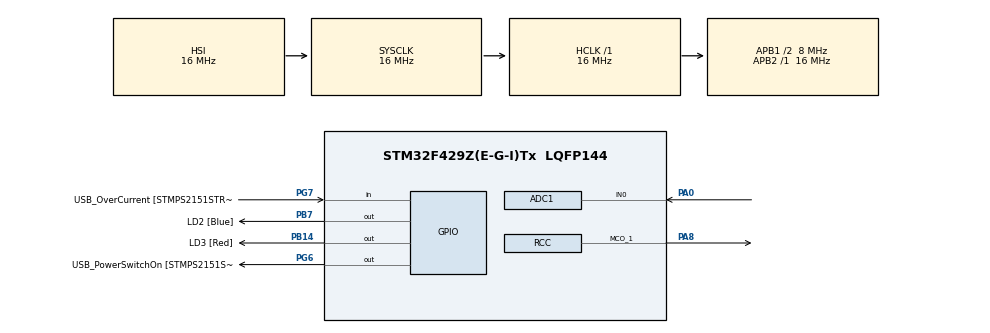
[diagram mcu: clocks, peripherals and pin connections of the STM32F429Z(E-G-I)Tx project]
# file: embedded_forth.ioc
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ADC1.Channel-0\#ChannelRegularConversion=ADC_CHANNEL_0
ADC1.NbrOfConversionFlag=1
ADC1.Rank-0\#ChannelRegularConversion=1
ADC1.SamplingTime-0\#ChannelRegularConversion=ADC_SAMPLETIME_3CYCLES
ADC1.master=1
Mcu.Family=STM32F4
Mcu.Name=STM32F429Z(E-G-I)Tx
Mcu.Package=LQFP144
NVIC.PriorityGroup=NVIC_PRIORITYGROUP_4
PA0/WKUP.Signal=ADCx_IN0
PA8.Mode=Clock-out-1
PA8.Signal=RCC_MCO_1
PB14.GPIO_Label=LD3 [Red]
PB14.Signal=GPIO_Output
PB7.GPIO_Label=LD2 [Blue]
PB7.Signal=GPIO_Output
PG6.GPIO_Label=USB_PowerSwitchOn [STMPS2151STR_EN]
PG6.Signal=GPIO_Output
PG7.GPIO_Label=USB_OverCurrent [STMPS2151STR_FAULT]
PG7.Signal=GPIO_Input
PH0/OSC_IN.GPIO_Label=MCO [STM32F103CBT6_PA8]
PH0/OSC_IN.Mode=HSE-External-Oscillator
PH0/OSC_IN.Signal=RCC_OSC_IN
PH1/OSC_OUT.Mode=HSE-External-Oscillator
PH1/OSC_OUT.Signal=RCC_OSC_OUT
ProjectManager.HeapSize=0x200
ProjectManager.StackSize=0x400
ProjectManager.TargetToolchain=EWARM V7
RCC.48MHZClocksFreq_Value=48000000
RCC.AHBFreq_Value=16000000
RCC.APB1CLKDivider=RCC_HCLK_DIV2
RCC.APB1Freq_Value=8000000
RCC.APB1TimFreq_Value=16000000
RCC.APB2Freq_Value=16000000
RCC.APB2TimFreq_Value=16000000
RCC.CortexFreq_Value=16000000
RCC.HCLKFreq_Value=16000000
RCC.HSE_VALUE=8000000
RCC.HSI_VALUE=16000000
RCC.LSE_VALUE=32768
RCC.PLLMUL=RCC_PLL_MUL9
RCC.PRESCALERUSB=RCC_USBCLKSOURCE_PLL_DIV1_5
RCC.SYSCLKFreq_VALUE=16000000
RCC.SYSCLKSourceVirtual=RCC_SYSCLKSOURCE_PLLCLK
RCC.USBFreq_Value=48000000
RCC.VCOOutputFreq_Value=192000000
SH.ADCx_IN0.0=ADC1_IN0,IN0
board=NUCLEO-F429ZI

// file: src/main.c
/**
  ******************************************************************************
  * File Name          : main.c
  * Description        : Main program body
  ******************************************************************************
  *
  * COPYRIGHT(c) 2018 STMicroelectronics
  *
  * Redistribution and use in source and binary forms, with or without modification,
  * are permitted provided that the following conditions are met:
  *   1. Redistributions of source code must retain the above copyright notice,
  *      this list of conditions and the following disclaimer.
  *   2. Redistributions in binary form must reproduce the above copyright notice,
  *      this list of conditions and the following disclaimer in the documentation
  *      and/or other materials provided with the distribution.
  *   3. Neither the name of STMicroelectronics nor the names of its contributors
  *      may be used to endorse or promote products derived from this software
  *      without specific prior written permission.
  *
  * THIS SOFTWARE IS PROVIDED BY THE COPYRIGHT HOLDERS AND CONTRIBUTORS "AS IS"
  * AND ANY EXPRESS OR IMPLIED WARRANTIES, INCLUDING, BUT NOT LIMITED TO, THE
  * IMPLIED WARRANTIES OF MERCHANTABILITY AND FITNESS FOR A PARTICULAR PURPOSE ARE
  * DISCLAIMED. IN NO EVENT SHALL THE COPYRIGHT HOLDER OR CONTRIBUTORS BE LIABLE
  * FOR ANY DIRECT, INDIRECT, INCIDENTAL, SPECIAL, EXEMPLARY, OR CONSEQUENTIAL
  * DAMAGES (INCLUDING, BUT NOT LIMITED TO, PROCUREMENT OF SUBSTITUTE GOODS OR
  * SERVICES; LOSS OF USE, DATA, OR PROFITS; OR BUSINESS INTERRUPTION) HOWEVER
  * CAUSED AND ON ANY THEORY OF LIABILITY, WHETHER IN CONTRACT, STRICT LIABILITY,
  * OR TORT (INCLUDING NEGLIGENCE OR OTHERWISE) ARISING IN ANY WAY OUT OF THE USE
  * OF THIS SOFTWARE, EVEN IF ADVISED OF THE POSSIBILITY OF SUCH DAMAGE.
  *
  ******************************************************************************
  */
#include "stm32f4xx_hal.h"

/* USER CODE BEGIN Includes */

#include "main.h"
#include "core_cm4.h"
#include "dictionary.h"

/* USER CODE END Includes */

ADC_HandleTypeDef hadc1;

void SystemClock_Config(void);
void Error_Handler(void);
static void MX_GPIO_Init(void);
static void MX_ADC1_Init(void);
static void SystemClock_Config(void);

/* USER CODE BEGIN PFP */
/* Private function prototypes -----------------------------------------------*/
void SystemClock_Config(void);
void Error_Handler(void);
void next(void);
static void MX_GPIO_Init(void);
static void MX_ADC1_Init(void);

/* USER CODE END PFP */

/* USER CODE BEGIN 0 */

/* Global variables ----------------------------------------------------------*/
/*USER CODE BEGIN GV*/
int32_t *stack_data = STACK_DATA_BEGIN -1;
uint32_t *stack_return = STACK_RETURN_BEGIN -1;
uint8_t mode = 0;
uint8_t error_code = 0;
/*USER CODE END GV*/

void next(void){
  while(mode != 2){
    (**current_xt)();
    /*OVERFLOW CHECK BEGIN*/
    if(stack_data >= STACK_DATA_END){
      error_code = 1;
      printf("DATA STACK IS FULL\r\n");
    } else if(stack_return >= STACK_RETURN_END) {
      error_code = 2;
      printf("RETURN STACK IS FULL\r\n");
    } else if(next_xt_space >= DATA_WORDS_END){
      error_code = 3;
      printf("WORD SPACE IS FULL\r\n");
    }
    if(error_code){
      printf("SYSTEM WILL BE REBOOTED\r\n");
      mode = 2;
    }
    /*OVERFLOW CHECK END*/
    ++current_xt;
  }
}

/* USER CODE END 0 */

int main(void)
{

  /* USER CODE BEGIN 1 */
  current_xt = interpretator_loop;
  mode = 0;
  next();
  /* USER CODE END 1 */

  /* MCU Configuration----------------------------------------------------------*/

  /* Reset of all peripherals, Initializes the Flash interface and the Systick. */
  HAL_Init();

  /* Configure the system clock */
  SystemClock_Config();

  /* Initialize all configured peripherals */
  MX_GPIO_Init();
  MX_ADC1_Init();
  SystemClock_Config();

  /* USER CODE BEGIN 2 */
  current_xt = interpretator_loop;
  mode = 0;
  next();
  switch(error_code){
    case 0:
      break;

    default:
      NVIC_SystemReset();
      break;
  }

  /* USER CODE END 2 */

  /* Infinite loop */
  while (1)
  {

  /* USER CODE BEGIN 3 */
    /*put code for situation when forth ended it's work */

  }
  /* USER CODE END 3 */

}

/** System Clock Configuration
*/
void SystemClock_Config(void)
{

  RCC_OscInitTypeDef RCC_OscInitStruct;
  RCC_ClkInitTypeDef RCC_ClkInitStruct;

  __HAL_RCC_PWR_CLK_ENABLE();

  __HAL_PWR_VOLTAGESCALING_CONFIG(PWR_REGULATOR_VOLTAGE_SCALE3);

  RCC_OscInitStruct.OscillatorType = RCC_OSCILLATORTYPE_HSI;
  RCC_OscInitStruct.HSIState = RCC_HSI_ON;
  RCC_OscInitStruct.HSICalibrationValue = 16;
  RCC_OscInitStruct.PLL.PLLState = RCC_PLL_NONE;
  if (HAL_RCC_OscConfig(&RCC_OscInitStruct) != HAL_OK)
  {
    Error_Handler();
  }

  RCC_ClkInitStruct.ClockType = RCC_CLOCKTYPE_HCLK|RCC_CLOCKTYPE_SYSCLK
                              |RCC_CLOCKTYPE_PCLK1|RCC_CLOCKTYPE_PCLK2;
  RCC_ClkInitStruct.SYSCLKSource = RCC_SYSCLKSOURCE_HSI;
  RCC_ClkInitStruct.AHBCLKDivider = RCC_SYSCLK_DIV1;
  RCC_ClkInitStruct.APB1CLKDivider = RCC_HCLK_DIV2;
  RCC_ClkInitStruct.APB2CLKDivider = RCC_HCLK_DIV1;
  if (HAL_RCC_ClockConfig(&RCC_ClkInitStruct, FLASH_LATENCY_0) != HAL_OK)
  {
    Error_Handler();
  }

  HAL_RCC_MCOConfig(RCC_MCO1, RCC_MCO1SOURCE_HSI, RCC_MCODIV_1);

  HAL_SYSTICK_Config(HAL_RCC_GetHCLKFreq()/1000);

  HAL_SYSTICK_CLKSourceConfig(SYSTICK_CLKSOURCE_HCLK);

  /* SysTick_IRQn interrupt configuration */
  HAL_NVIC_SetPriority(SysTick_IRQn, 0, 0);
}

/* ADC1 init function */
static void MX_ADC1_Init(void)
{

  ADC_ChannelConfTypeDef sConfig;

    /**Configure the global features of the ADC (Clock, Resolution, Data Alignment and number of conversion)
    */
  hadc1.Instance = ADC1;
  hadc1.Init.ClockPrescaler = ADC_CLOCK_SYNC_PCLK_DIV2;
  hadc1.Init.Resolution = ADC_RESOLUTION_12B;
  hadc1.Init.ScanConvMode = DISABLE;
  hadc1.Init.ContinuousConvMode = DISABLE;
  hadc1.Init.DiscontinuousConvMode = DISABLE;
  hadc1.Init.ExternalTrigConvEdge = ADC_EXTERNALTRIGCONVEDGE_NONE;
  hadc1.Init.DataAlign = ADC_DATAALIGN_RIGHT;
  hadc1.Init.NbrOfConversion = 1;
  hadc1.Init.DMAContinuousRequests = DISABLE;
  hadc1.Init.EOCSelection = ADC_EOC_SINGLE_CONV;
  if (HAL_ADC_Init(&hadc1) != HAL_OK)
  {
    Error_Handler();
  }

    /**Configure for the selected ADC regular channel its corresponding rank in the sequencer and its sample time.
    */
  sConfig.Channel = ADC_CHANNEL_0;
  sConfig.Rank = 1;
  sConfig.SamplingTime = ADC_SAMPLETIME_3CYCLES;
  if (HAL_ADC_ConfigChannel(&hadc1, &sConfig) != HAL_OK)
  {
    Error_Handler();
  }

}

/** Configure pins as
        * Analog
        * Input
        * Output
        * EVENT_OUT
        * EXTI
     PA8   ------> RCC_MCO_1
*/
static void MX_GPIO_Init(void)
{

  GPIO_InitTypeDef GPIO_InitStruct;

  /* GPIO Ports Clock Enable */
  __HAL_RCC_GPIOH_CLK_ENABLE();
  __HAL_RCC_GPIOA_CLK_ENABLE();
  __HAL_RCC_GPIOB_CLK_ENABLE();
  __HAL_RCC_GPIOG_CLK_ENABLE();

  /*Configure GPIO pin Output Level */
  HAL_GPIO_WritePin(GPIOB, LD3_Pin|LD2_Pin, GPIO_PIN_RESET);

  /*Configure GPIO pin Output Level */
  HAL_GPIO_WritePin(USB_PowerSwitchOn_GPIO_Port, USB_PowerSwitchOn_Pin, GPIO_PIN_RESET);

  /*Configure GPIO pins : LD3_Pin LD2_Pin */
  GPIO_InitStruct.Pin = LD3_Pin|LD2_Pin;
  GPIO_InitStruct.Mode = GPIO_MODE_OUTPUT_PP;
  GPIO_InitStruct.Pull = GPIO_NOPULL;
  GPIO_InitStruct.Speed = GPIO_SPEED_FREQ_LOW;
  HAL_GPIO_Init(GPIOB, &GPIO_InitStruct);

  /*Configure GPIO pin : USB_PowerSwitchOn_Pin */
  GPIO_InitStruct.Pin = USB_PowerSwitchOn_Pin;
  GPIO_InitStruct.Mode = GPIO_MODE_OUTPUT_PP;
  GPIO_InitStruct.Pull = GPIO_NOPULL;
  GPIO_InitStruct.Speed = GPIO_SPEED_FREQ_LOW;
  HAL_GPIO_Init(USB_PowerSwitchOn_GPIO_Port, &GPIO_InitStruct);

  /*Configure GPIO pin : USB_OverCurrent_Pin */
  GPIO_InitStruct.Pin = USB_OverCurrent_Pin;
  GPIO_InitStruct.Mode = GPIO_MODE_INPUT;
  GPIO_InitStruct.Pull = GPIO_NOPULL;
  HAL_GPIO_Init(USB_OverCurrent_GPIO_Port, &GPIO_InitStruct);

  /*Configure GPIO pin : PA8 */
  GPIO_InitStruct.Pin = GPIO_PIN_8;
  GPIO_InitStruct.Mode = GPIO_MODE_AF_PP;
  GPIO_InitStruct.Pull = GPIO_NOPULL;
  GPIO_InitStruct.Speed = GPIO_SPEED_FREQ_LOW;
  GPIO_InitStruct.Alternate = GPIO_AF0_MCO;
  HAL_GPIO_Init(GPIOA, &GPIO_InitStruct);

}

void Error_Handler(void)
{
  while(1)
  {
  }
}

/************************ (C) COPYRIGHT STMicroelectronics *****END OF FILE****/
